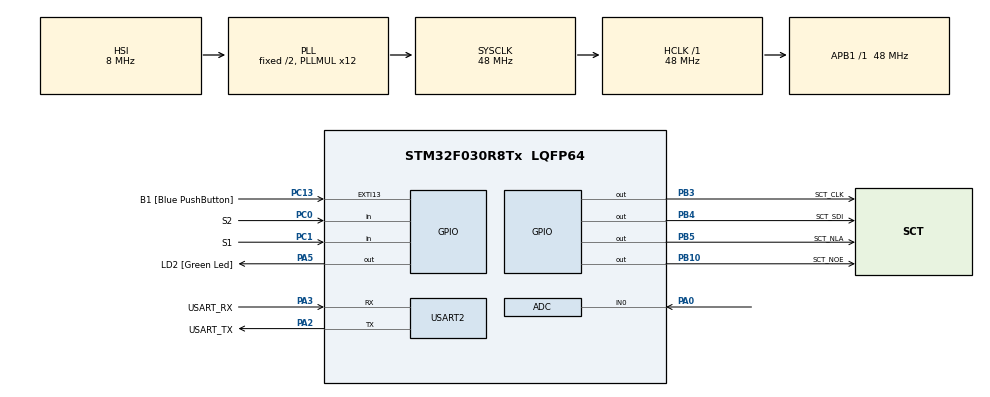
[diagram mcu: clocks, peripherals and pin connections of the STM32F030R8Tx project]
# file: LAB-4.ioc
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ADC.ContinuousConvMode=ENABLE
ADC.Overrun=ADC_OVR_DATA_OVERWRITTEN
ADC.SamplingTime=ADC_SAMPLETIME_239CYCLES_5
Mcu.Family=STM32F0
Mcu.Name=STM32F030R8Tx
Mcu.Package=LQFP64
NVIC.ADC1_IRQn=true\:0\:0\:false\:false\:true\:true\:true\:true
PA0.Mode=IN0
PA0.Signal=ADC_IN0
PA13.GPIO_Label=TMS
PA13.Mode=Serial_Wire
PA13.Signal=SYS_SWDIO
PA14.GPIO_Label=TCK
PA14.Mode=Serial_Wire
PA14.Signal=SYS_SWCLK
PA2.GPIO_Label=USART_TX
PA2.GPIO_Mode=GPIO_MODE_AF_PP
PA2.GPIO_PuPd=GPIO_NOPULL
PA2.GPIO_Speed=GPIO_SPEED_FREQ_LOW
PA2.Mode=Asynchronous
PA2.Signal=USART2_TX
PA3.GPIO_Label=USART_RX
PA3.GPIO_Mode=GPIO_MODE_AF_PP
PA3.GPIO_PuPd=GPIO_NOPULL
PA3.GPIO_Speed=GPIO_SPEED_FREQ_LOW
PA3.Mode=Asynchronous
PA3.Signal=USART2_RX
PA5.GPIO_Label=LD2 [Green Led]
PA5.GPIO_Mode=GPIO_MODE_OUTPUT_PP
PA5.GPIO_PuPd=GPIO_NOPULL
PA5.GPIO_Speed=GPIO_SPEED_FREQ_LOW
PA5.Signal=GPIO_Output
PB10.GPIO_Label=SCT_NOE
PB10.Signal=GPIO_Output
PB3.GPIO_Label=SCT_CLK
PB3.Signal=GPIO_Output
PB4.GPIO_Label=SCT_SDI
PB4.Signal=GPIO_Output
PB5.GPIO_Label=SCT_NLA
PB5.Signal=GPIO_Output
PC0.GPIO_Label=S2
PC0.GPIO_PuPd=GPIO_PULLUP
PC0.Signal=GPIO_Input
PC1.GPIO_Label=S1
PC1.GPIO_PuPd=GPIO_PULLUP
PC1.Signal=GPIO_Input
PC13.GPIO_Label=B1 [Blue PushButton]
PC13.GPIO_ModeDefaultEXTI=GPIO_MODE_IT_FALLING
PC13.Signal=GPXTI13
PC14-OSC32_IN.Mode=LSE-External-Oscillator
PC14-OSC32_IN.Signal=RCC_OSC32_IN
PC15-OSC32_OUT.Mode=LSE-External-Oscillator
PC15-OSC32_OUT.Signal=RCC_OSC32_OUT
PF0-OSC_IN.Mode=HSE-External-Clock-Source
PF0-OSC_IN.Signal=RCC_OSC_IN
PF1-OSC_OUT.Signal=RCC_OSC_OUT
ProjectManager.HeapSize=0x200
ProjectManager.StackSize=0x400
ProjectManager.TargetToolchain=STM32CubeIDE
RCC.AHBFreq_Value=48000000
RCC.APB1Freq_Value=48000000
RCC.APB1TimFreq_Value=48000000
RCC.HCLKFreq_Value=48000000
RCC.PLLMUL=RCC_PLL_MUL12
RCC.SYSCLKFreq_VALUE=48000000
RCC.SYSCLKSource=RCC_SYSCLKSOURCE_PLLCLK
USART2.VirtualMode-Asynchronous=VM_ASYNC
VP_ADC_TempSens_Input.Mode=IN-TempSens
VP_ADC_Vref_Input.Mode=IN-Vrefint
board=NUCLEO-F030R8

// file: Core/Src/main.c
/* USER CODE BEGIN Header */
/**
  ******************************************************************************
  * @file           : main.c
  * @brief          : Main program body
  ******************************************************************************
  * @attention
  *
  * Copyright (c) 2025 STMicroelectronics.
  * All rights reserved.
  *
  * This software is licensed under terms that can be found in the LICENSE file
  * in the root directory of this software component.
  * If no LICENSE file comes with this software, it is provided AS-IS.
  *
  ******************************************************************************
  */
/* USER CODE END Header */
#include "main.h"

/* USER CODE BEGIN Includes */
#include "sct.h"
/* USER CODE END Includes */

/* USER CODE BEGIN PD */
#define ADC_Q 12
#define APPLY_Q(x) ((x) >> ADC_Q)

/* Temperature sensor calibration value address */
#define TEMP110_CAL_ADDR ((uint16_t*) ((uint32_t) 0x1FFFF7C2))
#define TEMP30_CAL_ADDR ((uint16_t*) ((uint32_t) 0x1FFFF7B8))
/* Internal voltage reference calibration value address */
#define VREFINT_CAL_ADDR ((uint16_t*) ((uint32_t) 0x1FFFF7BA))

/* USER CODE END PD */

ADC_HandleTypeDef hadc;

UART_HandleTypeDef huart2;

void SystemClock_Config(void);
static void MX_GPIO_Init(void);
static void MX_USART2_UART_Init(void);
static void MX_ADC_Init(void);

/* USER CODE BEGIN 0 */
static volatile uint32_t raw_pot;
static volatile uint32_t raw_temp;
static volatile uint32_t raw_volt;

void HAL_ADC_ConvCpltCallback(ADC_HandleTypeDef* hadc)
{
	static uint8_t channel = 0;
	switch(channel)
	{
	case 0:
		static uint32_t avg_pot;
		raw_pot = APPLY_Q(avg_pot);
		avg_pot -= raw_pot;
		avg_pot += HAL_ADC_GetValue(hadc);
		break;
	case 1:
		raw_temp = HAL_ADC_GetValue(hadc);
		break;
	case 2:
		raw_volt = HAL_ADC_GetValue(hadc);
		break;
	}
	if (__HAL_ADC_GET_FLAG(hadc, ADC_FLAG_EOS)) channel = 0;
	else channel++;
}
/* USER CODE END 0 */

int main(void)
{

  /* MCU Configuration--------------------------------------------------------*/

  /* Reset of all peripherals, Initializes the Flash interface and the Systick. */
  HAL_Init();

  /* Configure the system clock */
  SystemClock_Config();

  /* Initialize all configured peripherals */
  MX_GPIO_Init();
  MX_USART2_UART_Init();
  MX_ADC_Init();
  /* USER CODE BEGIN 2 */
  sct_init();
  HAL_ADCEx_Calibration_Start(&hadc);
  HAL_ADC_Start_IT(&hadc);
  /* USER CODE END 2 */

  /* Infinite loop */
  while (1)
  {

    /* USER CODE BEGIN 3 */
	  uint32_t voltage = 330 * (*VREFINT_CAL_ADDR) / raw_volt;
	  int32_t temperature = (raw_temp - (int32_t)(*TEMP30_CAL_ADDR));
	  temperature = temperature * (int32_t)(110 - 30);
	  temperature = temperature / (int32_t)(*TEMP110_CAL_ADDR - *TEMP30_CAL_ADDR);
	  temperature = temperature + 30;

	  // state machine
	  static enum { SHOW_POT, SHOW_VOLT, SHOW_TEMP } state = SHOW_POT;
	  static uint32_t tick_reset = 0;
	  uint32_t now = HAL_GetTick();
	  if(now >= tick_reset)
	  {
		  state = SHOW_POT;
	  }

	  if(HAL_GPIO_ReadPin(S1_GPIO_Port, S1_Pin) == 0)
	  {
		  state = SHOW_VOLT;
		  tick_reset = now + 1000;
	  }

	  if(HAL_GPIO_ReadPin(S2_GPIO_Port, S2_Pin) == 0)
	  {
		  state = SHOW_TEMP;
		  tick_reset = now + 1000;
	  }

	  // output control
	  uint16_t value;
	  uint8_t led;
	  switch(state){
	  case SHOW_POT:
		  value = (raw_pot*501)/4096;
		  led = (raw_pot*9)/4096;
		  break;

	  case SHOW_TEMP:
		  value = temperature;
		  led = 0;
		  break;

	  case SHOW_VOLT:
		  value = voltage;
		  led = 0;
		  break;
	  }

	  sct_value(value, led);
	  HAL_Delay(50);
  }
  /* USER CODE END 3 */
}

void SystemClock_Config(void)
{
  RCC_OscInitTypeDef RCC_OscInitStruct = {0};
  RCC_ClkInitTypeDef RCC_ClkInitStruct = {0};

  /** Initializes the RCC Oscillators according to the specified parameters
  * in the RCC_OscInitTypeDef structure.
  */
  RCC_OscInitStruct.OscillatorType = RCC_OSCILLATORTYPE_HSI|RCC_OSCILLATORTYPE_HSI14;
  RCC_OscInitStruct.HSIState = RCC_HSI_ON;
  RCC_OscInitStruct.HSI14State = RCC_HSI14_ON;
  RCC_OscInitStruct.HSICalibrationValue = RCC_HSICALIBRATION_DEFAULT;
  RCC_OscInitStruct.HSI14CalibrationValue = 16;
  RCC_OscInitStruct.PLL.PLLState = RCC_PLL_ON;
  RCC_OscInitStruct.PLL.PLLSource = RCC_PLLSOURCE_HSI;
  RCC_OscInitStruct.PLL.PLLMUL = RCC_PLL_MUL12;
  RCC_OscInitStruct.PLL.PREDIV = RCC_PREDIV_DIV1;
  if (HAL_RCC_OscConfig(&RCC_OscInitStruct) != HAL_OK)
  {
    Error_Handler();
  }

  /** Initializes the CPU, AHB and APB buses clocks
  */
  RCC_ClkInitStruct.ClockType = RCC_CLOCKTYPE_HCLK|RCC_CLOCKTYPE_SYSCLK
                              |RCC_CLOCKTYPE_PCLK1;
  RCC_ClkInitStruct.SYSCLKSource = RCC_SYSCLKSOURCE_PLLCLK;
  RCC_ClkInitStruct.AHBCLKDivider = RCC_SYSCLK_DIV1;
  RCC_ClkInitStruct.APB1CLKDivider = RCC_HCLK_DIV1;

  if (HAL_RCC_ClockConfig(&RCC_ClkInitStruct, FLASH_LATENCY_1) != HAL_OK)
  {
    Error_Handler();
  }
}

static void MX_ADC_Init(void)
{

  ADC_ChannelConfTypeDef sConfig = {0};

  /** Configure the global features of the ADC (Clock, Resolution, Data Alignment and number of conversion)
  */
  hadc.Instance = ADC1;
  hadc.Init.ClockPrescaler = ADC_CLOCK_ASYNC_DIV1;
  hadc.Init.Resolution = ADC_RESOLUTION_12B;
  hadc.Init.DataAlign = ADC_DATAALIGN_RIGHT;
  hadc.Init.ScanConvMode = ADC_SCAN_DIRECTION_FORWARD;
  hadc.Init.EOCSelection = ADC_EOC_SINGLE_CONV;
  hadc.Init.LowPowerAutoWait = DISABLE;
  hadc.Init.LowPowerAutoPowerOff = DISABLE;
  hadc.Init.ContinuousConvMode = ENABLE;
  hadc.Init.DiscontinuousConvMode = DISABLE;
  hadc.Init.ExternalTrigConv = ADC_SOFTWARE_START;
  hadc.Init.ExternalTrigConvEdge = ADC_EXTERNALTRIGCONVEDGE_NONE;
  hadc.Init.DMAContinuousRequests = DISABLE;
  hadc.Init.Overrun = ADC_OVR_DATA_OVERWRITTEN;
  if (HAL_ADC_Init(&hadc) != HAL_OK)
  {
    Error_Handler();
  }

  /** Configure for the selected ADC regular channel to be converted.
  */
  sConfig.Channel = ADC_CHANNEL_0;
  sConfig.Rank = ADC_RANK_CHANNEL_NUMBER;
  sConfig.SamplingTime = ADC_SAMPLETIME_239CYCLES_5;
  if (HAL_ADC_ConfigChannel(&hadc, &sConfig) != HAL_OK)
  {
    Error_Handler();
  }

  /** Configure for the selected ADC regular channel to be converted.
  */
  sConfig.Channel = ADC_CHANNEL_TEMPSENSOR;
  if (HAL_ADC_ConfigChannel(&hadc, &sConfig) != HAL_OK)
  {
    Error_Handler();
  }

  /** Configure for the selected ADC regular channel to be converted.
  */
  sConfig.Channel = ADC_CHANNEL_VREFINT;
  if (HAL_ADC_ConfigChannel(&hadc, &sConfig) != HAL_OK)
  {
    Error_Handler();
  }

}

static void MX_USART2_UART_Init(void)
{

  huart2.Instance = USART2;
  huart2.Init.BaudRate = 38400;
  huart2.Init.WordLength = UART_WORDLENGTH_8B;
  huart2.Init.StopBits = UART_STOPBITS_1;
  huart2.Init.Parity = UART_PARITY_NONE;
  huart2.Init.Mode = UART_MODE_TX_RX;
  huart2.Init.HwFlowCtl = UART_HWCONTROL_NONE;
  huart2.Init.OverSampling = UART_OVERSAMPLING_16;
  huart2.Init.OneBitSampling = UART_ONE_BIT_SAMPLE_DISABLE;
  huart2.AdvancedInit.AdvFeatureInit = UART_ADVFEATURE_NO_INIT;
  if (HAL_UART_Init(&huart2) != HAL_OK)
  {
    Error_Handler();
  }

}

static void MX_GPIO_Init(void)
{
  GPIO_InitTypeDef GPIO_InitStruct = {0};

  /* GPIO Ports Clock Enable */
  __HAL_RCC_GPIOC_CLK_ENABLE();
  __HAL_RCC_GPIOF_CLK_ENABLE();
  __HAL_RCC_GPIOA_CLK_ENABLE();
  __HAL_RCC_GPIOB_CLK_ENABLE();

  /*Configure GPIO pin Output Level */
  HAL_GPIO_WritePin(LD2_GPIO_Port, LD2_Pin, GPIO_PIN_RESET);

  /*Configure GPIO pin Output Level */
  HAL_GPIO_WritePin(GPIOB, SCT_NOE_Pin|SCT_CLK_Pin|SCT_SDI_Pin|SCT_NLA_Pin, GPIO_PIN_RESET);

  /*Configure GPIO pin : B1_Pin */
  GPIO_InitStruct.Pin = B1_Pin;
  GPIO_InitStruct.Mode = GPIO_MODE_IT_FALLING;
  GPIO_InitStruct.Pull = GPIO_NOPULL;
  HAL_GPIO_Init(B1_GPIO_Port, &GPIO_InitStruct);

  /*Configure GPIO pins : S2_Pin S1_Pin */
  GPIO_InitStruct.Pin = S2_Pin|S1_Pin;
  GPIO_InitStruct.Mode = GPIO_MODE_INPUT;
  GPIO_InitStruct.Pull = GPIO_PULLUP;
  HAL_GPIO_Init(GPIOC, &GPIO_InitStruct);

  /*Configure GPIO pin : LD2_Pin */
  GPIO_InitStruct.Pin = LD2_Pin;
  GPIO_InitStruct.Mode = GPIO_MODE_OUTPUT_PP;
  GPIO_InitStruct.Pull = GPIO_NOPULL;
  GPIO_InitStruct.Speed = GPIO_SPEED_FREQ_LOW;
  HAL_GPIO_Init(LD2_GPIO_Port, &GPIO_InitStruct);

  /*Configure GPIO pins : SCT_NOE_Pin SCT_CLK_Pin SCT_SDI_Pin SCT_NLA_Pin */
  GPIO_InitStruct.Pin = SCT_NOE_Pin|SCT_CLK_Pin|SCT_SDI_Pin|SCT_NLA_Pin;
  GPIO_InitStruct.Mode = GPIO_MODE_OUTPUT_PP;
  GPIO_InitStruct.Pull = GPIO_NOPULL;
  GPIO_InitStruct.Speed = GPIO_SPEED_FREQ_LOW;
  HAL_GPIO_Init(GPIOB, &GPIO_InitStruct);

}

void Error_Handler(void)
{
  __disable_irq();
  while (1)
  {
  }
}
